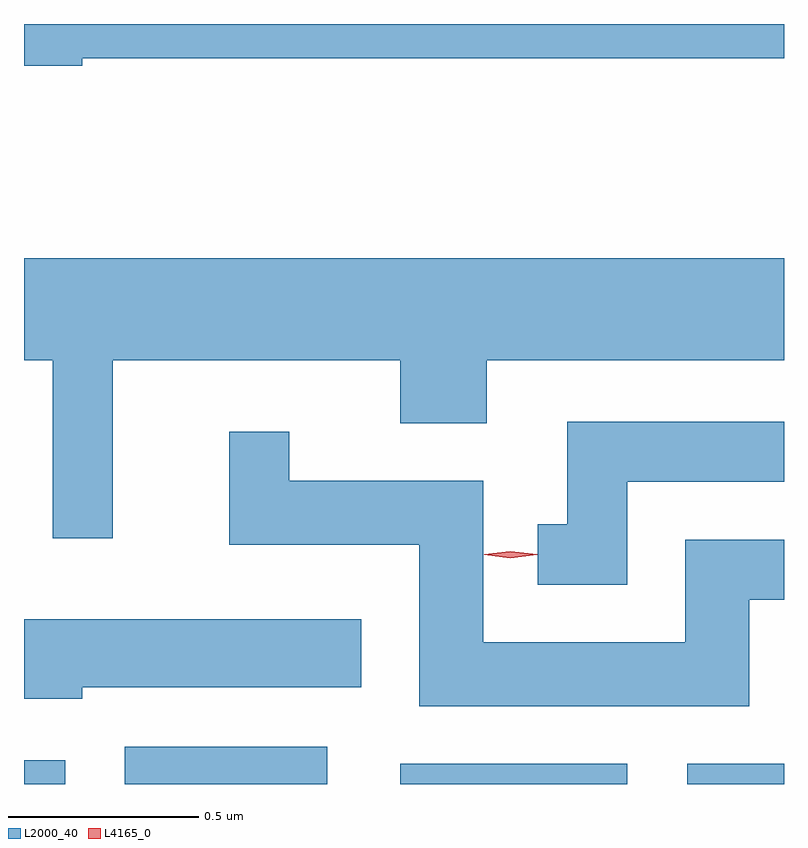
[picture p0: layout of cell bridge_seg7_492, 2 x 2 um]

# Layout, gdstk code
import gdstk
lib = gdstk.Library(unit=1e-6, precision=1e-09)
def R(c, l, rs):  # rectangles x0, y0, x1, y1
    for r in rs: c.add(gdstk.rectangle(r[:2], r[2:], *l))
def P(c, l, *ps):  # polygons
    for p in ps: c.add(gdstk.Polygon(p, *l))
L2000_40 = (2000, 40)
L4165_0 = (4165, 0)

bridge_seg7_492 = lib.new_cell('bridge_seg7_492')
R(bridge_seg7_492, L2000_40, [(1440.071,1699.881,1440.179,1699.944), (1440.336,1699.881,1440.869,1699.979), (1441.061,1699.881,1441.659,1699.934), (1441.816,1699.881,1442.071,1699.934)])
P(bridge_seg7_492, L2000_40, [(1440.224,1701.791),(1442.071,1701.791),(1442.071,1701.881),(1440.071,1701.881),(1440.071,1701.771),(1440.224,1701.771)],
  [(1440.304,1700.996),(1441.061,1700.996),(1441.061,1700.831),(1441.289,1700.831),(1441.289,1700.996),(1442.071,1700.996),(1442.071,1701.264),(1440.071,1701.264),(1440.071,1700.996),(1440.146,1700.996),(1440.146,1700.528),(1440.304,1700.528)],
  [(1441.659,1700.676),(1442.071,1700.676),(1442.071,1700.834),(1441.501,1700.834),(1441.501,1700.564),(1441.423,1700.564),(1441.423,1700.406),(1441.659,1700.406)],
  [(1441.979,1700.366),(1442.071,1700.366),(1442.071,1700.524),(1441.811,1700.524),(1441.811,1700.254),(1441.279,1700.254),(1441.279,1700.679),(1440.769,1700.679),(1440.769,1700.808),(1440.611,1700.808),(1440.611,1700.511),(1441.111,1700.511),(1441.111,1700.086),(1441.979,1700.086)],
  [(1440.224,1700.136),(1440.959,1700.136),(1440.959,1700.314),(1440.071,1700.314),(1440.071,1700.106),(1440.224,1700.106)])
P(bridge_seg7_492, L4165_0, [(1441.351,1700.475),(1441.282,1700.484),(1441.282,1700.484),(1441.282,1700.485),(1441.351,1700.494),(1441.421,1700.485),(1441.421,1700.485),(1441.421,1700.484)])

lib.write_gds('bridge_seg7_492.gds')
